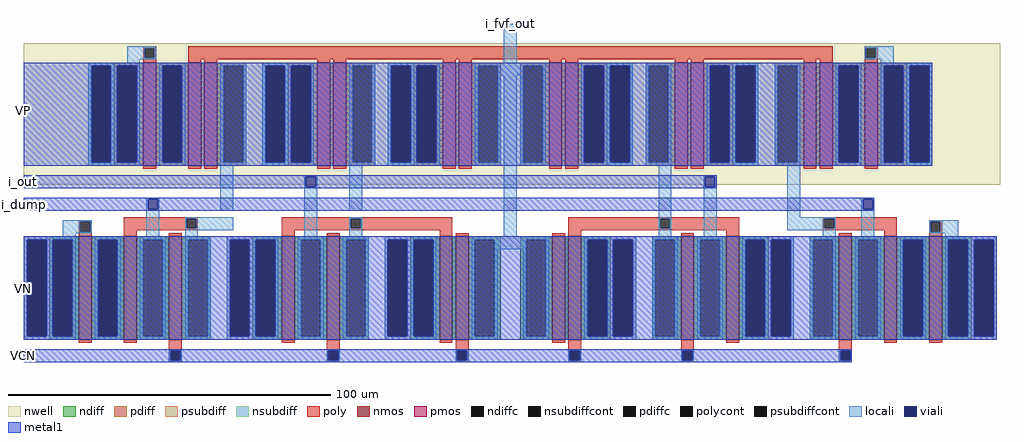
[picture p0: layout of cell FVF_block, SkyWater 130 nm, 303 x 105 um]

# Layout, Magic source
magic
tech sky130A
<< nwell >>
rect -8900 -200 21400 4200
<< nmos >>
rect -7200 -5000 -6800 -1800
rect -5800 -5000 -5400 -1800
rect -4400 -5000 -4000 -1800
rect -900 -5000 -500 -1800
rect 500 -5000 900 -1800
rect 4000 -5000 4400 -1800
rect 4500 -5000 4900 -1800
rect 7500 -5000 7900 -1800
rect 8000 -5000 8400 -1800
rect 11500 -5000 11900 -1800
rect 12900 -5000 13300 -1800
rect 16400 -5000 16800 -1800
rect 17800 -5000 18200 -1800
rect 19200 -5000 19600 -1800
<< pmos >>
rect -5200 400 -4800 3600
rect -3800 400 -3400 3600
rect -3300 400 -2900 3600
rect 200 400 600 3600
rect 700 400 1100 3600
rect 4100 400 4500 3600
rect 4600 400 5000 3600
rect 7400 400 7800 3600
rect 7900 400 8300 3600
rect 11300 400 11700 3600
rect 11800 400 12200 3600
rect 15300 400 15700 3600
rect 15800 400 16200 3600
rect 17200 400 17600 3600
<< ndiff >>
rect -8100 -1900 -7200 -1800
rect -8100 -4900 -8000 -1900
rect -7400 -4900 -7200 -1900
rect -8100 -5000 -7200 -4900
rect -6800 -1900 -5800 -1800
rect -6800 -4900 -6600 -1900
rect -6000 -4900 -5800 -1900
rect -6800 -5000 -5800 -4900
rect -5400 -1900 -4400 -1800
rect -5400 -4900 -5200 -1900
rect -4600 -4900 -4400 -1900
rect -5400 -5000 -4400 -4900
rect -4000 -1900 -3100 -1800
rect -4000 -4900 -3800 -1900
rect -3200 -4900 -3100 -1900
rect -4000 -5000 -3100 -4900
rect -1800 -1900 -900 -1800
rect -1800 -4900 -1700 -1900
rect -1100 -4900 -900 -1900
rect -1800 -5000 -900 -4900
rect -500 -1900 500 -1800
rect -500 -4900 -300 -1900
rect 300 -4900 500 -1900
rect -500 -5000 500 -4900
rect 900 -1900 1800 -1800
rect 900 -4900 1100 -1900
rect 1700 -4900 1800 -1900
rect 900 -5000 1800 -4900
rect 3100 -1900 4000 -1800
rect 3100 -4900 3200 -1900
rect 3800 -4900 4000 -1900
rect 3100 -5000 4000 -4900
rect 4400 -5000 4500 -1800
rect 4900 -1900 5900 -1800
rect 4900 -4900 5100 -1900
rect 5700 -4900 5900 -1900
rect 4900 -5000 5900 -4900
rect 6500 -1900 7500 -1800
rect 6500 -4900 6700 -1900
rect 7300 -4900 7500 -1900
rect 6500 -5000 7500 -4900
rect 7900 -5000 8000 -1800
rect 8400 -1900 9300 -1800
rect 8400 -4900 8600 -1900
rect 9200 -4900 9300 -1900
rect 8400 -5000 9300 -4900
rect 10600 -1900 11500 -1800
rect 10600 -4900 10700 -1900
rect 11300 -4900 11500 -1900
rect 10600 -5000 11500 -4900
rect 11900 -1900 12900 -1800
rect 11900 -4900 12100 -1900
rect 12700 -4900 12900 -1900
rect 11900 -5000 12900 -4900
rect 13300 -1900 14200 -1800
rect 13300 -4900 13500 -1900
rect 14100 -4900 14200 -1900
rect 13300 -5000 14200 -4900
rect 15500 -1900 16400 -1800
rect 15500 -4900 15600 -1900
rect 16200 -4900 16400 -1900
rect 15500 -5000 16400 -4900
rect 16800 -1900 17800 -1800
rect 16800 -4900 17000 -1900
rect 17600 -4900 17800 -1900
rect 16800 -5000 17800 -4900
rect 18200 -1900 19200 -1800
rect 18200 -4900 18400 -1900
rect 19000 -4900 19200 -1900
rect 18200 -5000 19200 -4900
rect 19600 -1900 20500 -1800
rect 19600 -4900 19800 -1900
rect 20400 -4900 20500 -1900
rect 19600 -5000 20500 -4900
<< pdiff >>
rect -6100 3500 -5200 3600
rect -6100 500 -6000 3500
rect -5400 500 -5200 3500
rect -6100 400 -5200 500
rect -4800 3500 -3800 3600
rect -4800 500 -4600 3500
rect -4000 500 -3800 3500
rect -4800 400 -3800 500
rect -3400 400 -3300 3600
rect -2900 3500 -2000 3600
rect -2900 500 -2700 3500
rect -2100 500 -2000 3500
rect -2900 400 -2000 500
rect -700 3500 200 3600
rect -700 500 -600 3500
rect 0 500 200 3500
rect -700 400 200 500
rect 600 400 700 3600
rect 1100 3500 2000 3600
rect 1100 500 1300 3500
rect 1900 500 2000 3500
rect 1100 400 2000 500
rect 3200 3500 4100 3600
rect 3200 500 3300 3500
rect 3900 500 4100 3500
rect 3200 400 4100 500
rect 4500 400 4600 3600
rect 5000 3500 5900 3600
rect 5000 500 5200 3500
rect 5800 500 5900 3500
rect 5000 400 5900 500
rect 6500 3500 7400 3600
rect 6500 500 6600 3500
rect 7200 500 7400 3500
rect 6500 400 7400 500
rect 7800 400 7900 3600
rect 8300 3500 9200 3600
rect 8300 500 8500 3500
rect 9100 500 9200 3500
rect 8300 400 9200 500
rect 10400 3500 11300 3600
rect 10400 500 10500 3500
rect 11100 500 11300 3500
rect 10400 400 11300 500
rect 11700 400 11800 3600
rect 12200 3500 13100 3600
rect 12200 500 12400 3500
rect 13000 500 13100 3500
rect 12200 400 13100 500
rect 14400 3500 15300 3600
rect 14400 500 14500 3500
rect 15100 500 15300 3500
rect 14400 400 15300 500
rect 15700 400 15800 3600
rect 16200 3500 17200 3600
rect 16200 500 16400 3500
rect 17000 500 17200 3500
rect 16200 400 17200 500
rect 17600 3500 18500 3600
rect 17600 500 17800 3500
rect 18400 500 18500 3500
rect 17600 400 18500 500
<< ndiffc >>
rect -8000 -4900 -7400 -1900
rect -6600 -4900 -6000 -1900
rect -5200 -4900 -4600 -1900
rect -3800 -4900 -3200 -1900
rect -1700 -4900 -1100 -1900
rect -300 -4900 300 -1900
rect 1100 -4900 1700 -1900
rect 3200 -4900 3800 -1900
rect 5100 -4900 5700 -1900
rect 6700 -4900 7300 -1900
rect 8600 -4900 9200 -1900
rect 10700 -4900 11300 -1900
rect 12100 -4900 12700 -1900
rect 13500 -4900 14100 -1900
rect 15600 -4900 16200 -1900
rect 17000 -4900 17600 -1900
rect 18400 -4900 19000 -1900
rect 19800 -4900 20400 -1900
<< pdiffc >>
rect -6000 500 -5400 3500
rect -4600 500 -4000 3500
rect -2700 500 -2100 3500
rect -600 500 0 3500
rect 1300 500 1900 3500
rect 3300 500 3900 3500
rect 5200 500 5800 3500
rect 6600 500 7200 3500
rect 8500 500 9100 3500
rect 10500 500 11100 3500
rect 12400 500 13000 3500
rect 14500 500 15100 3500
rect 16400 500 17000 3500
rect 17800 500 18400 3500
<< psubdiff >>
rect -8900 -1900 -8100 -1800
rect -8900 -4900 -8800 -1900
rect -8200 -4900 -8100 -1900
rect -8900 -5000 -8100 -4900
rect -2600 -1900 -1800 -1800
rect -2600 -4900 -2500 -1900
rect -1900 -4900 -1800 -1900
rect -2600 -5000 -1800 -4900
rect 2300 -1900 3100 -1800
rect 2300 -4900 2400 -1900
rect 3000 -4900 3100 -1900
rect 2300 -5000 3100 -4900
rect 9300 -1900 10100 -1800
rect 9300 -4900 9400 -1900
rect 10000 -4900 10100 -1900
rect 9300 -5000 10100 -4900
rect 14200 -1900 15000 -1800
rect 14200 -4900 14300 -1900
rect 14900 -4900 15000 -1900
rect 14200 -5000 15000 -4900
rect 20500 -1900 21300 -1800
rect 20500 -4900 20600 -1900
rect 21200 -4900 21300 -1900
rect 20500 -5000 21300 -4900
<< nsubdiff >>
rect -6900 3500 -6100 3600
rect -6900 500 -6800 3500
rect -6200 500 -6100 3500
rect -6900 400 -6100 500
rect -1500 3500 -700 3600
rect -1500 500 -1400 3500
rect -800 500 -700 3500
rect -1500 400 -700 500
rect 2400 3500 3200 3600
rect 2400 500 2500 3500
rect 3100 500 3200 3500
rect 2400 400 3200 500
rect 9200 3500 10000 3600
rect 9200 500 9300 3500
rect 9900 500 10000 3500
rect 9200 400 10000 500
rect 13100 3500 13900 3600
rect 13100 500 13200 3500
rect 13800 500 13900 3500
rect 13100 400 13900 500
rect 18500 3500 19300 3600
rect 18500 500 18600 3500
rect 19200 500 19300 3500
rect 18500 400 19300 500
<< psubdiffcont >>
rect -8800 -4900 -8200 -1900
rect -2500 -4900 -1900 -1900
rect 2400 -4900 3000 -1900
rect 9400 -4900 10000 -1900
rect 14300 -4900 14900 -1900
rect 20600 -4900 21200 -1900
<< nsubdiffcont >>
rect -6800 500 -6200 3500
rect -1400 500 -800 3500
rect 2500 500 3100 3500
rect 9300 500 9900 3500
rect 13200 500 13800 3500
rect 18600 500 19200 3500
<< poly >>
rect -5200 4050 -4800 4100
rect -5200 3750 -5150 4050
rect -4850 3750 -4800 4050
rect -5200 3600 -4800 3750
rect -3800 3700 16200 4100
rect -3800 3600 -3400 3700
rect -3300 3600 -2900 3700
rect 200 3600 600 3700
rect 700 3600 1100 3700
rect 4100 3600 4500 3700
rect 4600 3600 5000 3700
rect 7400 3600 7800 3700
rect 7900 3600 8300 3700
rect 11300 3600 11700 3700
rect 11800 3600 12200 3700
rect 15300 3600 15700 3700
rect 15800 3600 16200 3700
rect 17200 4050 17600 4100
rect 17200 3750 17250 4050
rect 17550 3750 17600 4050
rect 17200 3600 17600 3750
rect -5200 300 -4800 400
rect -3800 300 -3400 400
rect -3300 300 -2900 400
rect 200 300 600 400
rect 700 300 1100 400
rect 4100 300 4500 400
rect 4600 300 5000 400
rect 7400 300 7800 400
rect 7900 300 8300 400
rect 11300 300 11700 400
rect 11800 300 12200 400
rect 15300 300 15700 400
rect 15800 300 16200 400
rect 17200 300 17600 400
rect -5800 -1250 -3500 -1200
rect -7200 -1350 -6800 -1300
rect -7200 -1650 -7150 -1350
rect -6850 -1650 -6800 -1350
rect -7200 -1800 -6800 -1650
rect -5800 -1550 -3850 -1250
rect -3550 -1550 -3500 -1250
rect -5800 -1600 -3500 -1550
rect -900 -1250 4400 -1200
rect -900 -1550 1250 -1250
rect 1550 -1550 4400 -1250
rect -900 -1600 4400 -1550
rect -5800 -1800 -5400 -1600
rect -4400 -1800 -4000 -1700
rect -900 -1800 -500 -1600
rect 500 -1800 900 -1700
rect 4000 -1800 4400 -1600
rect 8000 -1250 13300 -1200
rect 8000 -1550 10850 -1250
rect 11150 -1550 13300 -1250
rect 8000 -1600 13300 -1550
rect 15900 -1250 18200 -1200
rect 15900 -1550 15950 -1250
rect 16250 -1550 18200 -1250
rect 15900 -1600 18200 -1550
rect 4500 -1800 4900 -1700
rect 7500 -1800 7900 -1700
rect 8000 -1800 8400 -1600
rect 11500 -1800 11900 -1700
rect 12900 -1800 13300 -1600
rect 16400 -1800 16800 -1700
rect 17800 -1800 18200 -1600
rect 19200 -1350 19600 -1300
rect 19200 -1650 19250 -1350
rect 19550 -1650 19600 -1350
rect 19200 -1800 19600 -1650
rect -7200 -5100 -6800 -5000
rect -5800 -5100 -5400 -5000
rect -4400 -5350 -4000 -5000
rect -900 -5100 -500 -5000
rect -4400 -5650 -4350 -5350
rect -4050 -5650 -4000 -5350
rect -4400 -5700 -4000 -5650
rect 500 -5350 900 -5000
rect 4000 -5100 4400 -5000
rect 500 -5650 550 -5350
rect 850 -5650 900 -5350
rect 500 -5700 900 -5650
rect 4500 -5350 4900 -5000
rect 7500 -5100 7900 -5000
rect 4500 -5650 4550 -5350
rect 4850 -5650 4900 -5350
rect 4500 -5700 4900 -5650
rect 8000 -5350 8400 -5000
rect 8000 -5650 8050 -5350
rect 8350 -5650 8400 -5350
rect 8000 -5700 8400 -5650
rect 11500 -5350 11900 -5000
rect 12900 -5100 13300 -5000
rect 11500 -5650 11550 -5350
rect 11850 -5650 11900 -5350
rect 11500 -5700 11900 -5650
rect 16400 -5350 16800 -5000
rect 17800 -5100 18200 -5000
rect 19200 -5100 19600 -5000
rect 16400 -5650 16450 -5350
rect 16750 -5650 16800 -5350
rect 16400 -5700 16800 -5650
<< polycont >>
rect -5150 3750 -4850 4050
rect 17250 3750 17550 4050
rect -7150 -1650 -6850 -1350
rect -3850 -1550 -3550 -1250
rect 1250 -1550 1550 -1250
rect 10850 -1550 11150 -1250
rect 15950 -1550 16250 -1250
rect 19250 -1650 19550 -1350
rect -4350 -5650 -4050 -5350
rect 550 -5650 850 -5350
rect 4550 -5650 4850 -5350
rect 8050 -5650 8350 -5350
rect 11550 -5650 11850 -5350
rect 16450 -5650 16750 -5350
<< locali >>
rect -5700 4050 -4800 4100
rect -5700 3750 -5150 4050
rect -4850 3750 -4800 4050
rect -5700 3700 -4800 3750
rect -5700 3600 -5300 3700
rect 6000 3600 6400 4800
rect 17200 4050 18100 4100
rect 17200 3750 17250 4050
rect 17550 3750 18100 4050
rect 17200 3700 18100 3750
rect 17700 3600 18100 3700
rect -6900 3500 -5300 3600
rect -6900 500 -6800 3500
rect -6200 500 -6000 3500
rect -5400 500 -5300 3500
rect -6900 400 -5300 500
rect -4700 3500 -3900 3600
rect -4700 500 -4600 3500
rect -4000 500 -3900 3500
rect -4700 400 -3900 500
rect -2800 3500 -2000 3600
rect -2800 500 -2700 3500
rect -2100 500 -2000 3500
rect -2800 400 -2000 500
rect -1500 3500 100 3600
rect -1500 500 -1400 3500
rect -800 500 -600 3500
rect 0 500 100 3500
rect -1500 400 100 500
rect 1200 3500 2000 3600
rect 1200 500 1300 3500
rect 1900 500 2000 3500
rect 1200 400 2000 500
rect 2400 3500 4000 3600
rect 2400 500 2500 3500
rect 3100 500 3300 3500
rect 3900 500 4000 3500
rect 2400 400 4000 500
rect 5100 3500 7300 3600
rect 5100 500 5200 3500
rect 5800 3200 6600 3500
rect 5800 500 5900 3200
rect 5100 400 5900 500
rect -5100 -650 -4700 -600
rect -5100 -950 -5050 -650
rect -4750 -950 -4700 -650
rect -7700 -1350 -6800 -1300
rect -7700 -1650 -7150 -1350
rect -6850 -1650 -6800 -1350
rect -7700 -1700 -6800 -1650
rect -7700 -1800 -7300 -1700
rect -5100 -1800 -4700 -950
rect -2800 -1000 -2400 400
rect -200 50 200 100
rect -200 -250 -150 50
rect 150 -250 200 50
rect -3900 -1250 -2400 -1200
rect -3900 -1550 -3850 -1250
rect -3550 -1550 -2400 -1250
rect -3900 -1600 -2400 -1550
rect -3900 -1800 -3500 -1600
rect -200 -1800 200 -250
rect 1200 -1000 1600 400
rect 1200 -1250 1600 -1200
rect 1200 -1550 1250 -1250
rect 1550 -1550 1600 -1250
rect 1200 -1800 1600 -1550
rect 6000 -1800 6400 3200
rect 6500 500 6600 3200
rect 7200 500 7300 3500
rect 6500 400 7300 500
rect 8400 3500 10000 3600
rect 8400 500 8500 3500
rect 9100 500 9300 3500
rect 9900 500 10000 3500
rect 8400 400 10000 500
rect 10400 3500 11200 3600
rect 10400 500 10500 3500
rect 11100 500 11200 3500
rect 10400 400 11200 500
rect 12300 3500 13900 3600
rect 12300 500 12400 3500
rect 13000 500 13200 3500
rect 13800 500 13900 3500
rect 12300 400 13900 500
rect 14400 3500 15200 3600
rect 14400 500 14500 3500
rect 15100 500 15200 3500
rect 14400 400 15200 500
rect 16300 3500 17100 3600
rect 16300 500 16400 3500
rect 17000 500 17100 3500
rect 16300 400 17100 500
rect 17700 3500 19300 3600
rect 17700 500 17800 3500
rect 18400 500 18600 3500
rect 19200 500 19300 3500
rect 17700 400 19300 500
rect 10800 -1250 11200 400
rect 10800 -1550 10850 -1250
rect 11150 -1550 11200 -1250
rect 10800 -1800 11200 -1550
rect 12200 50 12600 100
rect 12200 -250 12250 50
rect 12550 -250 12600 50
rect 12200 -1800 12600 -250
rect 14800 -1200 15200 400
rect 17100 -650 17500 -600
rect 17100 -950 17150 -650
rect 17450 -950 17500 -650
rect 14800 -1250 16300 -1200
rect 14800 -1550 15950 -1250
rect 16250 -1550 16300 -1250
rect 14800 -1600 16300 -1550
rect 15900 -1800 16300 -1600
rect 17100 -1800 17500 -950
rect 19200 -1350 20100 -1300
rect 19200 -1650 19250 -1350
rect 19550 -1650 20100 -1350
rect 19200 -1700 20100 -1650
rect 19700 -1800 20100 -1700
rect -8900 -1900 -7300 -1800
rect -8900 -4900 -8800 -1900
rect -8200 -4900 -8000 -1900
rect -7400 -4900 -7300 -1900
rect -8900 -5000 -7300 -4900
rect -6700 -1900 -5900 -1800
rect -6700 -4900 -6600 -1900
rect -6000 -4900 -5900 -1900
rect -6700 -5000 -5900 -4900
rect -5300 -1900 -4500 -1800
rect -5300 -4900 -5200 -1900
rect -4600 -4900 -4500 -1900
rect -5300 -5000 -4500 -4900
rect -3900 -1900 -3100 -1800
rect -3900 -4900 -3800 -1900
rect -3200 -4900 -3100 -1900
rect -3900 -5000 -3100 -4900
rect -2600 -1900 -1000 -1800
rect -2600 -4900 -2500 -1900
rect -1900 -4900 -1700 -1900
rect -1100 -4900 -1000 -1900
rect -2600 -5000 -1000 -4900
rect -400 -1900 400 -1800
rect -400 -4900 -300 -1900
rect 300 -4900 400 -1900
rect -400 -5000 400 -4900
rect 1000 -1900 1800 -1800
rect 1000 -4900 1100 -1900
rect 1700 -4900 1800 -1900
rect 1000 -5000 1800 -4900
rect 2300 -1900 3900 -1800
rect 2300 -4900 2400 -1900
rect 3000 -4900 3200 -1900
rect 3800 -4900 3900 -1900
rect 2300 -5000 3900 -4900
rect 5000 -1900 7400 -1800
rect 5000 -4900 5100 -1900
rect 5700 -2200 6700 -1900
rect 5700 -4900 5800 -2200
rect 5000 -5000 5800 -4900
rect 6600 -4900 6700 -2200
rect 7300 -4900 7400 -1900
rect 6600 -5000 7400 -4900
rect 8500 -1900 10100 -1800
rect 8500 -4900 8600 -1900
rect 9200 -4900 9400 -1900
rect 10000 -4900 10100 -1900
rect 8500 -5000 10100 -4900
rect 10600 -1900 11400 -1800
rect 10600 -4900 10700 -1900
rect 11300 -4900 11400 -1900
rect 10600 -5000 11400 -4900
rect 12000 -1900 12800 -1800
rect 12000 -4900 12100 -1900
rect 12700 -4900 12800 -1900
rect 12000 -5000 12800 -4900
rect 13400 -1900 15000 -1800
rect 13400 -4900 13500 -1900
rect 14100 -4900 14300 -1900
rect 14900 -4900 15000 -1900
rect 13400 -5000 15000 -4900
rect 15500 -1900 16300 -1800
rect 15500 -4900 15600 -1900
rect 16200 -4900 16300 -1900
rect 15500 -5000 16300 -4900
rect 16900 -1900 17700 -1800
rect 16900 -4900 17000 -1900
rect 17600 -4900 17700 -1900
rect 16900 -5000 17700 -4900
rect 18300 -1900 19100 -1800
rect 18300 -4900 18400 -1900
rect 19000 -4900 19100 -1900
rect 18300 -5000 19100 -4900
rect 19700 -1900 21300 -1800
rect 19700 -4900 19800 -1900
rect 20400 -4900 20600 -1900
rect 21200 -4900 21300 -1900
rect 19700 -5000 21300 -4900
rect -4400 -5350 -4000 -5300
rect -4400 -5650 -4350 -5350
rect -4050 -5650 -4000 -5350
rect -4400 -5700 -4000 -5650
rect 500 -5350 900 -5300
rect 500 -5650 550 -5350
rect 850 -5650 900 -5350
rect 500 -5700 900 -5650
rect 4500 -5350 4900 -5300
rect 4500 -5650 4550 -5350
rect 4850 -5650 4900 -5350
rect 4500 -5700 4900 -5650
rect 8000 -5350 8400 -5300
rect 8000 -5650 8050 -5350
rect 8350 -5650 8400 -5350
rect 8000 -5700 8400 -5650
rect 11500 -5350 11900 -5300
rect 11500 -5650 11550 -5350
rect 11850 -5650 11900 -5350
rect 11500 -5700 11900 -5650
rect 16400 -5350 16800 -5300
rect 16400 -5650 16450 -5350
rect 16750 -5650 16800 -5350
rect 16400 -5700 16800 -5650
<< viali >>
rect -6800 500 -6200 3500
rect -6000 500 -5400 3500
rect -4600 500 -4000 3500
rect -1400 500 -800 3500
rect -600 500 0 3500
rect 2500 500 3100 3500
rect 3300 500 3900 3500
rect -5050 -950 -4750 -650
rect -150 -250 150 50
rect 8500 500 9100 3500
rect 9300 500 9900 3500
rect 12400 500 13000 3500
rect 13200 500 13800 3500
rect 16400 500 17000 3500
rect 17800 500 18400 3500
rect 18600 500 19200 3500
rect 12250 -250 12550 50
rect 17150 -950 17450 -650
rect -8800 -4900 -8200 -1900
rect -8000 -4900 -7400 -1900
rect -6600 -4900 -6000 -1900
rect -2500 -4900 -1900 -1900
rect -1700 -4900 -1100 -1900
rect 2400 -4900 3000 -1900
rect 3200 -4900 3800 -1900
rect 8600 -4900 9200 -1900
rect 9400 -4900 10000 -1900
rect 13500 -4900 14100 -1900
rect 14300 -4900 14900 -1900
rect 18400 -4900 19000 -1900
rect 19800 -4900 20400 -1900
rect 20600 -4900 21200 -1900
rect -4350 -5650 -4050 -5350
rect 550 -5650 850 -5350
rect 4550 -5650 4850 -5350
rect 8050 -5650 8350 -5350
rect 11550 -5650 11850 -5350
rect 16450 -5650 16750 -5350
<< metal1 >>
rect -8900 3500 19300 3600
rect -8900 500 -6800 3500
rect -6200 500 -6000 3500
rect -5400 500 -4600 3500
rect -4000 500 -1400 3500
rect -800 500 -600 3500
rect 0 500 2500 3500
rect 3100 500 3300 3500
rect 3900 500 8500 3500
rect 9100 500 9300 3500
rect 9900 500 12400 3500
rect 13000 500 13200 3500
rect 13800 500 16400 3500
rect 17000 500 17800 3500
rect 18400 500 18600 3500
rect 19200 500 19300 3500
rect -8900 400 19300 500
rect -8900 50 12600 100
rect -8900 -250 -150 50
rect 150 -250 12250 50
rect 12550 -250 12600 50
rect -8900 -300 12600 -250
rect -8900 -650 17500 -600
rect -8900 -950 -5050 -650
rect -4750 -950 17150 -650
rect 17450 -950 17500 -650
rect -8900 -1000 17500 -950
rect -8900 -1900 21300 -1800
rect -8900 -4900 -8800 -1900
rect -8200 -4900 -8000 -1900
rect -7400 -4900 -6600 -1900
rect -6000 -4900 -2500 -1900
rect -1900 -4900 -1700 -1900
rect -1100 -4900 2400 -1900
rect 3000 -4900 3200 -1900
rect 3800 -4900 8600 -1900
rect 9200 -4900 9400 -1900
rect 10000 -4900 13500 -1900
rect 14100 -4900 14300 -1900
rect 14900 -4900 18400 -1900
rect 19000 -4900 19800 -1900
rect 20400 -4900 20600 -1900
rect 21200 -4900 21300 -1900
rect -8900 -5000 21300 -4900
rect -8900 -5350 16800 -5300
rect -8900 -5650 -4350 -5350
rect -4050 -5650 550 -5350
rect 850 -5650 4550 -5350
rect 4850 -5650 8050 -5350
rect 8350 -5650 11550 -5350
rect 11850 -5650 16450 -5350
rect 16750 -5650 16800 -5350
rect -8900 -5700 16800 -5650
<< labels >>
flabel locali 6200 4800 6200 4800 0 FreeSans 4000 0 0 0 i_fvf_out
flabel metal1 -8900 2100 -8900 2100 0 FreeSans 4000 0 0 0 VP
flabel metal1 -8900 -100 -8900 -100 0 FreeSans 4000 0 0 0 i_out
flabel metal1 -8900 -800 -8900 -800 0 FreeSans 4000 0 0 0 i_dump
flabel metal1 -8900 -3400 -8900 -3400 0 FreeSans 4000 0 0 0 VN
flabel metal1 -8900 -5500 -8900 -5500 0 FreeSans 4000 0 0 0 VCN
<< end >>
